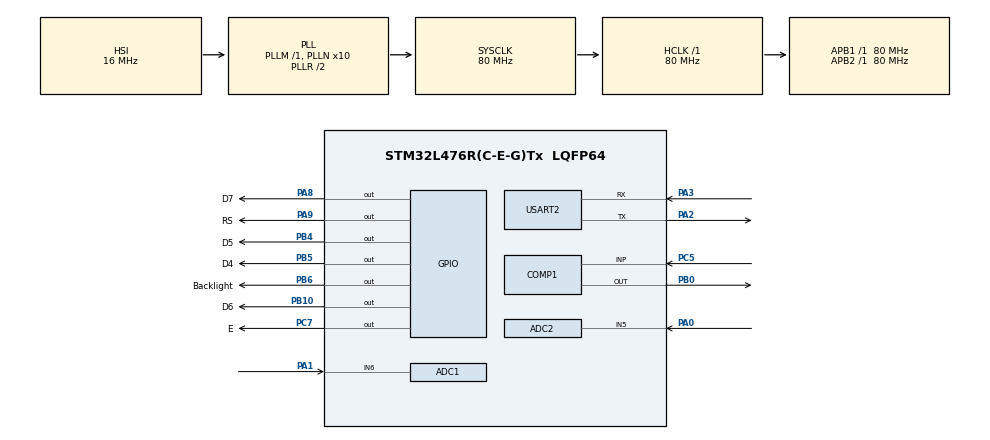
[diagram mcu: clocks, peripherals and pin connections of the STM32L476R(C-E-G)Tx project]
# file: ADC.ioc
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ADC1.Channel-0\#ChannelRegularConversion=ADC_CHANNEL_6
ADC1.ClockPrescaler=ADC_CLOCK_ASYNC_DIV128
ADC1.ContinuousConvMode=ENABLE
ADC1.DMAContinuousRequests=ENABLE
ADC1.NbrOfConversionFlag=1
ADC1.OffsetNumber-0\#ChannelRegularConversion=ADC_OFFSET_NONE
ADC1.Rank-0\#ChannelRegularConversion=1
ADC1.SamplingTime-0\#ChannelRegularConversion=ADC_SAMPLETIME_92CYCLES_5
ADC1.master=1
ADC2.Channel-0\#ChannelRegularConversion=ADC_CHANNEL_5
ADC2.ClockPrescaler=ADC_CLOCK_ASYNC_DIV128
ADC2.NbrOfConversionFlag=1
ADC2.OffsetNumber-0\#ChannelRegularConversion=ADC_OFFSET_NONE
ADC2.Rank-0\#ChannelRegularConversion=1
ADC2.SamplingTime-0\#ChannelRegularConversion=ADC_SAMPLETIME_2CYCLES_5
COMP1.TriggerMode=COMP_TRIGGERMODE_IT_RISING
Dma.ADC1.0.Direction=DMA_PERIPH_TO_MEMORY
Dma.ADC1.0.Instance=DMA1_Channel1
Dma.ADC1.0.MemDataAlignment=DMA_MDATAALIGN_WORD
Dma.ADC1.0.MemInc=DMA_MINC_ENABLE
Dma.ADC1.0.Mode=DMA_CIRCULAR
Dma.ADC1.0.PeriphDataAlignment=DMA_PDATAALIGN_WORD
Dma.ADC1.0.PeriphInc=DMA_PINC_DISABLE
Dma.ADC1.0.Priority=DMA_PRIORITY_LOW
Dma.Request0=ADC1
Mcu.Family=STM32L4
Mcu.Name=STM32L476R(C-E-G)Tx
Mcu.Package=LQFP64
NVIC.COMP_IRQn=true\:0\:0\:false\:false\:true\:false\:true\:true
NVIC.DMA1_Channel1_IRQn=true\:0\:0\:false\:false\:true\:false\:true\:true
NVIC.PriorityGroup=NVIC_PRIORITYGROUP_4
NVIC.TIM1_CC_IRQn=true\:0\:0\:false\:false\:true\:true\:true\:true
NVIC.TIM1_UP_TIM16_IRQn=true\:0\:0\:false\:false\:true\:true\:true\:true
PA0.Signal=ADCx_IN5
PA1.Signal=ADCx_IN6
PA2.Mode=Asynchronous
PA2.Signal=USART2_TX
PA3.Mode=Asynchronous
PA3.Signal=USART2_RX
PA8.GPIO_Label=D7
PA8.Signal=GPIO_Output
PA9.GPIO_Label=RS
PA9.Signal=GPIO_Output
PB0.Mode=ExternalOutput
PB0.Signal=COMP1_OUT
PB10.GPIO_Label=D6
PB10.Signal=GPIO_Output
PB4\ (NJTRST).GPIO_Label=D5
PB4\ (NJTRST).Signal=GPIO_Output
PB5.GPIO_Label=D4
PB5.Signal=GPIO_Output
PB6.GPIO_Label=Backlight
PB6.Signal=GPIO_Output
PC5.Mode=INP
PC5.Signal=COMP1_INP
PC7.GPIO_Label=E
PC7.Signal=GPIO_Output
ProjectManager.HeapSize=0x200
ProjectManager.StackSize=0x400
ProjectManager.TargetToolchain=STM32CubeIDE
RCC.ADCFreq_Value=64000000
RCC.AHBFreq_Value=80000000
RCC.APB1Freq_Value=80000000
RCC.APB1TimFreq_Value=80000000
RCC.APB2Freq_Value=80000000
RCC.APB2TimFreq_Value=80000000
RCC.CortexFreq_Value=80000000
RCC.HCLKFreq_Value=80000000
RCC.HSE_VALUE=8000000
RCC.HSI_VALUE=16000000
RCC.LSE_VALUE=32768
RCC.MSI_VALUE=4000000
RCC.PLLN=10
RCC.PLLSourceVirtual=RCC_PLLSOURCE_HSI
RCC.PREFETCH_ENABLE=1
RCC.SYSCLKFreq_VALUE=80000000
RCC.SYSCLKSource=RCC_SYSCLKSOURCE_PLLCLK
RCC.USBFreq_Value=64000000
RCC.VCOOutputFreq_Value=160000000
SH.ADCx_IN5.0=ADC2_IN5,IN5-Single-Ended
SH.ADCx_IN6.0=ADC1_IN6,IN6-Single-Ended
TIM1.Channel-Input_Capture1_from_TI1_REMAP_TIM1=TIM_CHANNEL_1
TIM1.ICFilter_CH1=4
TIM1.TIM1_ETR_COMP_REMAP-TriggerSource_ETR_ADC_Remap_TIM1=TIM_TIM1_ETR_COMP1
USART2.VirtualMode-Asynchronous=VM_ASYNC
VP_COMP1_VS_VREFINT14.Mode=VREFINT_14
VP_TIM1_VS_ClockSourceINT.Mode=Internal
VP_TIM1_VS_ControllerModeTrigger.Mode=Trigger Mode
VP_TIM1_VS_NoETR.Mode=TriggerSource_ETR_ADC_Remap_TIM1
VP_TIM1_VS_NoInput1.Mode=Input_Capture1_from_TI1_REMAP_TIM1
board=NUCLEO-L476RG

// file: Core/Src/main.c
/* USER CODE BEGIN Header */
/**
  ******************************************************************************
  * @file           : main.c
  * @brief          : Main program body
  ******************************************************************************
  * @attention
  *
  * Copyright (c) 2024 STMicroelectronics.
  * All rights reserved.
  *
  * This software is licensed under terms that can be found in the LICENSE file
  * in the root directory of this software component.
  * If no LICENSE file comes with this software, it is provided AS-IS.
  *
  ******************************************************************************
  */
/* USER CODE END Header */
#include "main.h"

/* USER CODE BEGIN Includes */
#include <stdio.h>
#include "adc.h"
#include "comparator.h"
#include "lcd16x2_v2.h"
#include "FFT.h"
/* USER CODE END Includes */

/* USER CODE BEGIN PTD */
#define ADC_BUF_LEN 4096
#define CLOCK_FREQUENCY 80e6
#define TRANSMITTED_FREQUENCY 10.525e9
/* USER CODE END PTD */

ADC_HandleTypeDef hadc1;
ADC_HandleTypeDef hadc2;
DMA_HandleTypeDef hdma_adc1;

COMP_HandleTypeDef hcomp1;

TIM_HandleTypeDef htim1;

UART_HandleTypeDef huart2;

/* USER CODE BEGIN PV */
ADC adc;  //ADC Struct

Comparator comp;	//Comparator Struct

uint32_t adc_buf[ADC_BUF_LEN] = {0};	//buffer array
/* USER CODE END PV */

void SystemClock_Config(void);
void PeriphCommonClock_Config(void);
static void MX_GPIO_Init(void);
static void MX_DMA_Init(void);
static void MX_ADC1_Init(void);
static void MX_USART2_UART_Init(void);
static void MX_COMP1_Init(void);
static void MX_TIM1_Init(void);
static void MX_ADC2_Init(void);

int main(void)
{
  /* USER CODE BEGIN 1 */
	char sampling_mode = 'L';
	int units_mode = 0;
	float current_frequency = 0;
	float velocity = 0;
  /* USER CODE END 1 */

  /* MCU Configuration--------------------------------------------------------*/

  /* Reset of all peripherals, Initializes the Flash interface and the Systick. */
  HAL_Init();

  /* Configure the system clock */
  SystemClock_Config();

  /* Configure the peripherals common clocks */
  PeriphCommonClock_Config();

  /* Initialize all configured peripherals */
  MX_GPIO_Init();
  MX_DMA_Init();
  MX_ADC1_Init();
  MX_USART2_UART_Init();
  MX_COMP1_Init();
  MX_TIM1_Init();
  MX_ADC2_Init();
  /* USER CODE BEGIN 2 */

  // Comparator Initialisation
  comparatorInit(&comp, &hcomp1, &htim1, CLOCK_FREQUENCY);

  // ADC Initialisation
  HAL_ADCEx_Calibration_Start(&hadc1, ADC_SINGLE_ENDED);
  ADCInit(&adc, &hadc1, ADC_BUF_LEN, adc_buf, 64000000, 128, 12, 92.5);

  // LCD Initialisation
  lcd16x2_init_4bits(GPIOA, RS_Pin, GPIOC, E_Pin,
    //      D0_GPIO_Port, D0_Pin, D1_Pin, D2_Pin, D3_Pin,
          GPIOB, D4_Pin, GPIOB, D5_Pin, GPIOB, D6_Pin, GPIOA, D7_Pin);
  /* USER CODE END 2 */

  /* Infinite loop */
  /* USER CODE BEGIN WHILE */
  while (1)
  {
	  // LCD Backlight
	  HAL_GPIO_WritePin(GPIOB, Backlight_Pin, GPIO_PIN_SET);
	  lcd16x2_clear();

	  char current_button = lcd16x2_getButton(&hadc2);

	  switch(current_button) {
	  	// Select
        case 'S':
          //lcd16x2_printf("SELECT Pressed");
          break;
        // Left
        case 'L':
        	comparatorStop(&comp);
        	ADCStart(&adc);
            sampling_mode = 'L';	// ADC
            break;
        // Right
        case 'R':
        	ADCStop(&adc);
        	comparatorStart(&comp);
            sampling_mode = 'R';	// Comparator
            break;
        // Up
        case 'U':
            units_mode = (units_mode + 1)%4;
            HAL_Delay(100);
            break;
        // Down
        case 'D':
        	units_mode = (units_mode + 3)%4;
        	HAL_Delay(100);
        	break;
        // Null
        case 'N':
        	break;
	  }

	  if(sampling_mode == 'L'){ // ADC
		  ADCStart(&adc);
		  lcd16x2_1stLine();
	  	  lcd16x2_printf("ADC  :");
		  lcd16x2_2ndLine();

		  current_frequency = ADCCalculateFrequency(&adc, 0);
		  current_frequency -= current_frequency*0.035;
		  get_velocity(current_frequency, TRANSMITTED_FREQUENCY, &velocity);
	  }
	  else if(sampling_mode == 'R'){ // Comparator
		  lcd16x2_1stLine();
	  	  lcd16x2_printf("COMP  :");
		  lcd16x2_2ndLine();

		  current_frequency = comp.freq;
		  current_frequency -= current_frequency*0.035;
		  get_velocity(current_frequency, TRANSMITTED_FREQUENCY, &velocity);

	  }

	  switch(units_mode){
		  // km/h
		  case 0:
			  velocity *= 3.6;
			  lcd16x2_printf("v = %.2f", velocity);
		      lcd16x2_printf("km/h");
		      break;
		  // m/s
		  case 1:
			  lcd16x2_printf("v = %.2f", velocity);
		      lcd16x2_printf("m/s");
		      break;
		  // mph
		  case 2:
			  velocity *= 2.237;
			  lcd16x2_printf("v = %.2f", velocity);
		      lcd16x2_printf("mph");
		      break;
		  // frequency
		  case 3:
			  lcd16x2_printf("f = %.2f", current_frequency);
		      lcd16x2_printf("Hz");
	  }

	  HAL_Delay(100);

    /* USER CODE END WHILE */

  }
}

void SystemClock_Config(void)
{
  RCC_OscInitTypeDef RCC_OscInitStruct = {0};
  RCC_ClkInitTypeDef RCC_ClkInitStruct = {0};

  /** Configure the main internal regulator output voltage
  */
  if (HAL_PWREx_ControlVoltageScaling(PWR_REGULATOR_VOLTAGE_SCALE1) != HAL_OK)
  {
    Error_Handler();
  }

  /** Initializes the RCC Oscillators according to the specified parameters
  * in the RCC_OscInitTypeDef structure.
  */
  RCC_OscInitStruct.OscillatorType = RCC_OSCILLATORTYPE_HSI;
  RCC_OscInitStruct.HSIState = RCC_HSI_ON;
  RCC_OscInitStruct.HSICalibrationValue = RCC_HSICALIBRATION_DEFAULT;
  RCC_OscInitStruct.PLL.PLLState = RCC_PLL_ON;
  RCC_OscInitStruct.PLL.PLLSource = RCC_PLLSOURCE_HSI;
  RCC_OscInitStruct.PLL.PLLM = 1;
  RCC_OscInitStruct.PLL.PLLN = 10;
  RCC_OscInitStruct.PLL.PLLP = RCC_PLLP_DIV7;
  RCC_OscInitStruct.PLL.PLLQ = RCC_PLLQ_DIV2;
  RCC_OscInitStruct.PLL.PLLR = RCC_PLLR_DIV2;
  if (HAL_RCC_OscConfig(&RCC_OscInitStruct) != HAL_OK)
  {
    Error_Handler();
  }

  /** Initializes the CPU, AHB and APB buses clocks
  */
  RCC_ClkInitStruct.ClockType = RCC_CLOCKTYPE_HCLK|RCC_CLOCKTYPE_SYSCLK
                              |RCC_CLOCKTYPE_PCLK1|RCC_CLOCKTYPE_PCLK2;
  RCC_ClkInitStruct.SYSCLKSource = RCC_SYSCLKSOURCE_PLLCLK;
  RCC_ClkInitStruct.AHBCLKDivider = RCC_SYSCLK_DIV1;
  RCC_ClkInitStruct.APB1CLKDivider = RCC_HCLK_DIV1;
  RCC_ClkInitStruct.APB2CLKDivider = RCC_HCLK_DIV1;

  if (HAL_RCC_ClockConfig(&RCC_ClkInitStruct, FLASH_LATENCY_4) != HAL_OK)
  {
    Error_Handler();
  }
}

void PeriphCommonClock_Config(void)
{
  RCC_PeriphCLKInitTypeDef PeriphClkInit = {0};

  /** Initializes the peripherals clock
  */
  PeriphClkInit.PeriphClockSelection = RCC_PERIPHCLK_ADC;
  PeriphClkInit.AdcClockSelection = RCC_ADCCLKSOURCE_PLLSAI1;
  PeriphClkInit.PLLSAI1.PLLSAI1Source = RCC_PLLSOURCE_HSI;
  PeriphClkInit.PLLSAI1.PLLSAI1M = 1;
  PeriphClkInit.PLLSAI1.PLLSAI1N = 8;
  PeriphClkInit.PLLSAI1.PLLSAI1P = RCC_PLLP_DIV7;
  PeriphClkInit.PLLSAI1.PLLSAI1Q = RCC_PLLQ_DIV2;
  PeriphClkInit.PLLSAI1.PLLSAI1R = RCC_PLLR_DIV2;
  PeriphClkInit.PLLSAI1.PLLSAI1ClockOut = RCC_PLLSAI1_ADC1CLK;
  if (HAL_RCCEx_PeriphCLKConfig(&PeriphClkInit) != HAL_OK)
  {
    Error_Handler();
  }
}

static void MX_ADC1_Init(void)
{

  ADC_MultiModeTypeDef multimode = {0};
  ADC_ChannelConfTypeDef sConfig = {0};

  /** Common config
  */
  hadc1.Instance = ADC1;
  hadc1.Init.ClockPrescaler = ADC_CLOCK_ASYNC_DIV128;
  hadc1.Init.Resolution = ADC_RESOLUTION_12B;
  hadc1.Init.DataAlign = ADC_DATAALIGN_RIGHT;
  hadc1.Init.ScanConvMode = ADC_SCAN_DISABLE;
  hadc1.Init.EOCSelection = ADC_EOC_SINGLE_CONV;
  hadc1.Init.LowPowerAutoWait = DISABLE;
  hadc1.Init.ContinuousConvMode = ENABLE;
  hadc1.Init.NbrOfConversion = 1;
  hadc1.Init.DiscontinuousConvMode = DISABLE;
  hadc1.Init.ExternalTrigConv = ADC_SOFTWARE_START;
  hadc1.Init.ExternalTrigConvEdge = ADC_EXTERNALTRIGCONVEDGE_NONE;
  hadc1.Init.DMAContinuousRequests = ENABLE;
  hadc1.Init.Overrun = ADC_OVR_DATA_PRESERVED;
  hadc1.Init.OversamplingMode = DISABLE;
  if (HAL_ADC_Init(&hadc1) != HAL_OK)
  {
    Error_Handler();
  }

  /** Configure the ADC multi-mode
  */
  multimode.Mode = ADC_MODE_INDEPENDENT;
  if (HAL_ADCEx_MultiModeConfigChannel(&hadc1, &multimode) != HAL_OK)
  {
    Error_Handler();
  }

  /** Configure Regular Channel
  */
  sConfig.Channel = ADC_CHANNEL_6;
  sConfig.Rank = ADC_REGULAR_RANK_1;
  sConfig.SamplingTime = ADC_SAMPLETIME_92CYCLES_5;
  sConfig.SingleDiff = ADC_SINGLE_ENDED;
  sConfig.OffsetNumber = ADC_OFFSET_NONE;
  sConfig.Offset = 0;
  if (HAL_ADC_ConfigChannel(&hadc1, &sConfig) != HAL_OK)
  {
    Error_Handler();
  }

}

static void MX_ADC2_Init(void)
{

  ADC_ChannelConfTypeDef sConfig = {0};

  /** Common config
  */
  hadc2.Instance = ADC2;
  hadc2.Init.ClockPrescaler = ADC_CLOCK_ASYNC_DIV128;
  hadc2.Init.Resolution = ADC_RESOLUTION_12B;
  hadc2.Init.DataAlign = ADC_DATAALIGN_RIGHT;
  hadc2.Init.ScanConvMode = ADC_SCAN_DISABLE;
  hadc2.Init.EOCSelection = ADC_EOC_SINGLE_CONV;
  hadc2.Init.LowPowerAutoWait = DISABLE;
  hadc2.Init.ContinuousConvMode = DISABLE;
  hadc2.Init.NbrOfConversion = 1;
  hadc2.Init.DiscontinuousConvMode = DISABLE;
  hadc2.Init.ExternalTrigConv = ADC_SOFTWARE_START;
  hadc2.Init.ExternalTrigConvEdge = ADC_EXTERNALTRIGCONVEDGE_NONE;
  hadc2.Init.DMAContinuousRequests = DISABLE;
  hadc2.Init.Overrun = ADC_OVR_DATA_PRESERVED;
  hadc2.Init.OversamplingMode = DISABLE;
  if (HAL_ADC_Init(&hadc2) != HAL_OK)
  {
    Error_Handler();
  }

  /** Configure Regular Channel
  */
  sConfig.Channel = ADC_CHANNEL_5;
  sConfig.Rank = ADC_REGULAR_RANK_1;
  sConfig.SamplingTime = ADC_SAMPLETIME_2CYCLES_5;
  sConfig.SingleDiff = ADC_SINGLE_ENDED;
  sConfig.OffsetNumber = ADC_OFFSET_NONE;
  sConfig.Offset = 0;
  if (HAL_ADC_ConfigChannel(&hadc2, &sConfig) != HAL_OK)
  {
    Error_Handler();
  }

}

static void MX_COMP1_Init(void)
{

  hcomp1.Instance = COMP1;
  hcomp1.Init.InvertingInput = COMP_INPUT_MINUS_1_4VREFINT;
  hcomp1.Init.NonInvertingInput = COMP_INPUT_PLUS_IO1;
  hcomp1.Init.OutputPol = COMP_OUTPUTPOL_NONINVERTED;
  hcomp1.Init.Hysteresis = COMP_HYSTERESIS_NONE;
  hcomp1.Init.BlankingSrce = COMP_BLANKINGSRC_NONE;
  hcomp1.Init.Mode = COMP_POWERMODE_HIGHSPEED;
  hcomp1.Init.WindowMode = COMP_WINDOWMODE_DISABLE;
  hcomp1.Init.TriggerMode = COMP_TRIGGERMODE_IT_RISING;
  if (HAL_COMP_Init(&hcomp1) != HAL_OK)
  {
    Error_Handler();
  }

}

static void MX_TIM1_Init(void)
{

  TIM_ClockConfigTypeDef sClockSourceConfig = {0};
  TIM_SlaveConfigTypeDef sSlaveConfig = {0};
  TIM_MasterConfigTypeDef sMasterConfig = {0};
  TIM_IC_InitTypeDef sConfigIC = {0};

  htim1.Instance = TIM1;
  htim1.Init.Prescaler = 0;
  htim1.Init.CounterMode = TIM_COUNTERMODE_UP;
  htim1.Init.Period = 65535;
  htim1.Init.ClockDivision = TIM_CLOCKDIVISION_DIV1;
  htim1.Init.RepetitionCounter = 0;
  htim1.Init.AutoReloadPreload = TIM_AUTORELOAD_PRELOAD_DISABLE;
  if (HAL_TIM_Base_Init(&htim1) != HAL_OK)
  {
    Error_Handler();
  }
  sClockSourceConfig.ClockSource = TIM_CLOCKSOURCE_INTERNAL;
  if (HAL_TIM_ConfigClockSource(&htim1, &sClockSourceConfig) != HAL_OK)
  {
    Error_Handler();
  }
  if (HAL_TIM_IC_Init(&htim1) != HAL_OK)
  {
    Error_Handler();
  }
  sSlaveConfig.SlaveMode = TIM_SLAVEMODE_TRIGGER;
  sSlaveConfig.InputTrigger = TIM_TS_ETRF;
  sSlaveConfig.TriggerPolarity = TIM_TRIGGERPOLARITY_NONINVERTED;
  sSlaveConfig.TriggerPrescaler = TIM_TRIGGERPRESCALER_DIV1;
  sSlaveConfig.TriggerFilter = 0;
  if (HAL_TIM_SlaveConfigSynchro(&htim1, &sSlaveConfig) != HAL_OK)
  {
    Error_Handler();
  }
  sMasterConfig.MasterOutputTrigger = TIM_TRGO_RESET;
  sMasterConfig.MasterOutputTrigger2 = TIM_TRGO2_RESET;
  sMasterConfig.MasterSlaveMode = TIM_MASTERSLAVEMODE_DISABLE;
  if (HAL_TIMEx_MasterConfigSynchronization(&htim1, &sMasterConfig) != HAL_OK)
  {
    Error_Handler();
  }
  if (HAL_TIMEx_RemapConfig(&htim1, TIM_TIM1_TI1_COMP1|TIM_TIM1_ETR_COMP1) != HAL_OK)
  {
    Error_Handler();
  }
  sConfigIC.ICPolarity = TIM_INPUTCHANNELPOLARITY_RISING;
  sConfigIC.ICSelection = TIM_ICSELECTION_DIRECTTI;
  sConfigIC.ICPrescaler = TIM_ICPSC_DIV1;
  sConfigIC.ICFilter = 4;
  if (HAL_TIM_IC_ConfigChannel(&htim1, &sConfigIC, TIM_CHANNEL_1) != HAL_OK)
  {
    Error_Handler();
  }

}

static void MX_USART2_UART_Init(void)
{

  huart2.Instance = USART2;
  huart2.Init.BaudRate = 115200;
  huart2.Init.WordLength = UART_WORDLENGTH_8B;
  huart2.Init.StopBits = UART_STOPBITS_1;
  huart2.Init.Parity = UART_PARITY_NONE;
  huart2.Init.Mode = UART_MODE_TX_RX;
  huart2.Init.HwFlowCtl = UART_HWCONTROL_NONE;
  huart2.Init.OverSampling = UART_OVERSAMPLING_16;
  huart2.Init.OneBitSampling = UART_ONE_BIT_SAMPLE_DISABLE;
  huart2.AdvancedInit.AdvFeatureInit = UART_ADVFEATURE_NO_INIT;
  if (HAL_UART_Init(&huart2) != HAL_OK)
  {
    Error_Handler();
  }

}

static void MX_DMA_Init(void)
{

  /* DMA controller clock enable */
  __HAL_RCC_DMA1_CLK_ENABLE();

  /* DMA interrupt init */
  /* DMA1_Channel1_IRQn interrupt configuration */
  HAL_NVIC_SetPriority(DMA1_Channel1_IRQn, 0, 0);
  HAL_NVIC_EnableIRQ(DMA1_Channel1_IRQn);

}

static void MX_GPIO_Init(void)
{
  GPIO_InitTypeDef GPIO_InitStruct = {0};

  /* GPIO Ports Clock Enable */
  __HAL_RCC_GPIOA_CLK_ENABLE();
  __HAL_RCC_GPIOC_CLK_ENABLE();
  __HAL_RCC_GPIOB_CLK_ENABLE();

  /*Configure GPIO pin Output Level */
  HAL_GPIO_WritePin(GPIOB, D6_Pin|D5_Pin|D4_Pin|Backlight_Pin, GPIO_PIN_RESET);

  /*Configure GPIO pin Output Level */
  HAL_GPIO_WritePin(E_GPIO_Port, E_Pin, GPIO_PIN_RESET);

  /*Configure GPIO pin Output Level */
  HAL_GPIO_WritePin(GPIOA, D7_Pin|RS_Pin, GPIO_PIN_RESET);

  /*Configure GPIO pins : D6_Pin D5_Pin D4_Pin Backlight_Pin */
  GPIO_InitStruct.Pin = D6_Pin|D5_Pin|D4_Pin|Backlight_Pin;
  GPIO_InitStruct.Mode = GPIO_MODE_OUTPUT_PP;
  GPIO_InitStruct.Pull = GPIO_NOPULL;
  GPIO_InitStruct.Speed = GPIO_SPEED_FREQ_LOW;
  HAL_GPIO_Init(GPIOB, &GPIO_InitStruct);

  /*Configure GPIO pin : E_Pin */
  GPIO_InitStruct.Pin = E_Pin;
  GPIO_InitStruct.Mode = GPIO_MODE_OUTPUT_PP;
  GPIO_InitStruct.Pull = GPIO_NOPULL;
  GPIO_InitStruct.Speed = GPIO_SPEED_FREQ_LOW;
  HAL_GPIO_Init(E_GPIO_Port, &GPIO_InitStruct);

  /*Configure GPIO pins : D7_Pin RS_Pin */
  GPIO_InitStruct.Pin = D7_Pin|RS_Pin;
  GPIO_InitStruct.Mode = GPIO_MODE_OUTPUT_PP;
  GPIO_InitStruct.Pull = GPIO_NOPULL;
  GPIO_InitStruct.Speed = GPIO_SPEED_FREQ_LOW;
  HAL_GPIO_Init(GPIOA, &GPIO_InitStruct);

}

/* USER CODE BEGIN 4 */

void HAL_TIM_IC_CaptureCallback(TIM_HandleTypeDef* htim)
{
    comparatorCaptureCallback(&comp);
}

void HAL_TIM_PeriodElapsedCallback(TIM_HandleTypeDef* htim)
{
    comparatorPeriodElapsedCallback(&comp);
}

// Called when first half of buffer is filled
void HAL_ADC_ConvHalfCpltCallback(ADC_HandleTypeDef* hadc) {
	HAL_GPIO_WritePin(D7_GPIO_Port, D4_Pin, GPIO_PIN_SET);
}

// Called when buffer is completely filled
void HAL_ADC_ConvCpltCallback(ADC_HandleTypeDef* hadc) {
	HAL_GPIO_WritePin(D7_GPIO_Port, D4_Pin, GPIO_PIN_RESET);
	if (hadc == adc.hadc) {
		ADCHandleCallback(&adc);
	}
}

//#ifdef __GNUC__
//#define PUTCHAR_PROTOTYPE int __io_putchar(int ch)
//#else
//  #define PUTCHAR_PROTOTYPE int fputc(int ch, FILE *f)
//#endif /* __GNUC__ */
//{
//  HAL_UART_Transmit(&huart1, (uint8_t *)&ch, 1, 0xFFFF);
//  return ch;
//}
/* USER CODE END 4 */

void Error_Handler(void)
{
  __disable_irq();
  while (1)
  {
  }
}
